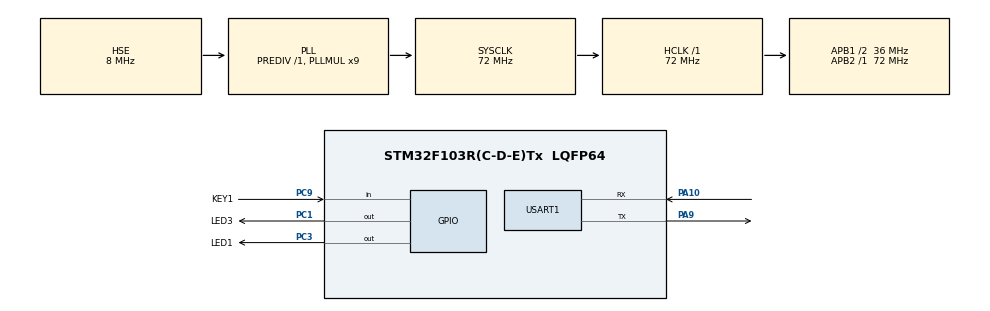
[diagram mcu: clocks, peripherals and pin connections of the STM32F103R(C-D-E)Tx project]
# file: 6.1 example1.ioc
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Mcu.Family=STM32F1
Mcu.Name=STM32F103R(C-D-E)Tx
Mcu.Package=LQFP64
NVIC.PriorityGroup=NVIC_PRIORITYGROUP_4
NVIC.TIM6_IRQn=true\:15\:0\:false\:false\:true\:false\:true\:true
NVIC.TimeBase=TIM6_IRQn
NVIC.TimeBaseIP=TIM6
PA10.Mode=Asynchronous
PA10.Signal=USART1_RX
PA13.Mode=Serial_Wire
PA13.Signal=SYS_JTMS-SWDIO
PA14.Mode=Serial_Wire
PA14.Signal=SYS_JTCK-SWCLK
PA9.Mode=Asynchronous
PA9.Signal=USART1_TX
PC1.GPIO_Label=LED3
PC1.Signal=GPIO_Output
PC3.GPIO_Label=LED1
PC3.Signal=GPIO_Output
PC9.GPIO_Label=KEY1
PC9.GPIO_PuPd=GPIO_PULLUP
PC9.Signal=GPIO_Input
PD0-OSC_IN.Mode=HSE-External-Oscillator
PD0-OSC_IN.Signal=RCC_OSC_IN
PD1-OSC_OUT.Mode=HSE-External-Oscillator
PD1-OSC_OUT.Signal=RCC_OSC_OUT
ProjectManager.HeapSize=0x200
ProjectManager.StackSize=0x400
ProjectManager.TargetToolchain=STM32CubeIDE
RCC.AHBFreq_Value=72000000
RCC.APB1CLKDivider=RCC_HCLK_DIV2
RCC.APB1Freq_Value=36000000
RCC.APB1TimFreq_Value=72000000
RCC.APB2Freq_Value=72000000
RCC.APB2TimFreq_Value=72000000
RCC.HCLKFreq_Value=72000000
RCC.PLLMUL=RCC_PLL_MUL9
RCC.PLLSourceVirtual=RCC_PLLSOURCE_HSE
RCC.SYSCLKFreq_VALUE=72000000
RCC.SYSCLKSource=RCC_SYSCLKSOURCE_PLLCLK
RCC.USBFreq_Value=72000000
USART1.VirtualMode=VM_ASYNC
VP_SYS_VS_tim6.Mode=TIM6
board=custom

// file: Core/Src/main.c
/* USER CODE BEGIN Header */
/**
  ******************************************************************************
  * @file           : main.c
  * @brief          : Main program body
  ******************************************************************************
  * @attention
  *
  * Copyright (c) 2026 STMicroelectronics.
  * All rights reserved.
  *
  * This software is licensed under terms that can be found in the LICENSE file
  * in the root directory of this software component.
  * If no LICENSE file comes with this software, it is provided AS-IS.
  *
  ******************************************************************************
  */
/* USER CODE END Header */
#include "main.h"

/* USER CODE BEGIN Includes */
#include "FreeRTOS.h"
#include "task.h"
#include <string.h>
#include "semphr.h"
/* USER CODE END Includes */

UART_HandleTypeDef huart1;

/* USER CODE BEGIN PV */
SemaphoreHandle_t xFireSemphr;
/* USER CODE END PV */

void SystemClock_Config(void);
static void MX_GPIO_Init(void);
static void MX_USART1_UART_Init(void);
/* USER CODE BEGIN PFP */
void print(const char * str);
/* USER CODE END PFP */

/* USER CODE BEGIN 0 */
void print(const char * str)
{
	vTaskSuspendAll();	//暂停所有调度器
	HAL_UART_Transmit(&huart1, (const uint8_t *)str, strlen(str), HAL_MAX_DELAY);
	xTaskResumeAll();	//恢复所有调度器
}

// 按钮任务
void vButtonTask(void *pvParameters)
{
	GPIO_PinState current, previous = GPIO_PIN_SET;		//一个是记录当前值，一个是记录先前值

	for(;;)
	{
		current = HAL_GPIO_ReadPin(KEY1_GPIO_Port, KEY1_Pin);

		if(current != previous && current == GPIO_PIN_SET)
		{
			xSemaphoreGive(xFireSemphr);
		}

		previous = current;

		vTaskDelay(pdMS_TO_TICKS(10));
	}
}

//火箭任务
void vRocketTask(void *pvParameters)
{
	BaseType_t xReturn;

	print("火箭等待发射\n");
	xReturn = xSemaphoreTake(xFireSemphr,pdMS_TO_TICKS(5000));
	if(xReturn == pdPASS)
	{
		print("火箭发射成功\n");
	}
	else
	{
		print("火箭发射失败");
	}
	vTaskDelete(NULL);
}
/* USER CODE END 0 */

int main(void)
{

  /* MCU Configuration--------------------------------------------------------*/

  /* Reset of all peripherals, Initializes the Flash interface and the Systick. */
  HAL_Init();

  /* Configure the system clock */
  SystemClock_Config();

  /* Initialize all configured peripherals */
  MX_GPIO_Init();
  MX_USART1_UART_Init();
  /* USER CODE BEGIN 2 */

   xFireSemphr = xSemaphoreCreateBinary();
   xTaskCreate(vButtonTask, "Btn", 128, NULL, 2, NULL);
   xTaskCreate(vRocketTask, "Rkt", 128, NULL, 1, NULL);

  vTaskStartScheduler();
  /* USER CODE END 2 */

  /* Infinite loop */
  while (1)
  {

  }
}

void SystemClock_Config(void)
{
  RCC_OscInitTypeDef RCC_OscInitStruct = {0};
  RCC_ClkInitTypeDef RCC_ClkInitStruct = {0};

  /** Initializes the RCC Oscillators according to the specified parameters
  * in the RCC_OscInitTypeDef structure.
  */
  RCC_OscInitStruct.OscillatorType = RCC_OSCILLATORTYPE_HSE;
  RCC_OscInitStruct.HSEState = RCC_HSE_ON;
  RCC_OscInitStruct.HSEPredivValue = RCC_HSE_PREDIV_DIV1;
  RCC_OscInitStruct.HSIState = RCC_HSI_ON;
  RCC_OscInitStruct.PLL.PLLState = RCC_PLL_ON;
  RCC_OscInitStruct.PLL.PLLSource = RCC_PLLSOURCE_HSE;
  RCC_OscInitStruct.PLL.PLLMUL = RCC_PLL_MUL9;
  if (HAL_RCC_OscConfig(&RCC_OscInitStruct) != HAL_OK)
  {
    Error_Handler();
  }

  /** Initializes the CPU, AHB and APB buses clocks
  */
  RCC_ClkInitStruct.ClockType = RCC_CLOCKTYPE_HCLK|RCC_CLOCKTYPE_SYSCLK
                              |RCC_CLOCKTYPE_PCLK1|RCC_CLOCKTYPE_PCLK2;
  RCC_ClkInitStruct.SYSCLKSource = RCC_SYSCLKSOURCE_PLLCLK;
  RCC_ClkInitStruct.AHBCLKDivider = RCC_SYSCLK_DIV1;
  RCC_ClkInitStruct.APB1CLKDivider = RCC_HCLK_DIV2;
  RCC_ClkInitStruct.APB2CLKDivider = RCC_HCLK_DIV1;

  if (HAL_RCC_ClockConfig(&RCC_ClkInitStruct, FLASH_LATENCY_2) != HAL_OK)
  {
    Error_Handler();
  }
}

static void MX_USART1_UART_Init(void)
{

  huart1.Instance = USART1;
  huart1.Init.BaudRate = 115200;
  huart1.Init.WordLength = UART_WORDLENGTH_8B;
  huart1.Init.StopBits = UART_STOPBITS_1;
  huart1.Init.Parity = UART_PARITY_NONE;
  huart1.Init.Mode = UART_MODE_TX_RX;
  huart1.Init.HwFlowCtl = UART_HWCONTROL_NONE;
  huart1.Init.OverSampling = UART_OVERSAMPLING_16;
  if (HAL_UART_Init(&huart1) != HAL_OK)
  {
    Error_Handler();
  }

}

static void MX_GPIO_Init(void)
{
  GPIO_InitTypeDef GPIO_InitStruct = {0};

  /* GPIO Ports Clock Enable */
  __HAL_RCC_GPIOD_CLK_ENABLE();
  __HAL_RCC_GPIOC_CLK_ENABLE();
  __HAL_RCC_GPIOA_CLK_ENABLE();

  /*Configure GPIO pin Output Level */
  HAL_GPIO_WritePin(GPIOC, LED3_Pin|LED1_Pin, GPIO_PIN_RESET);

  /*Configure GPIO pins : LED3_Pin LED1_Pin */
  GPIO_InitStruct.Pin = LED3_Pin|LED1_Pin;
  GPIO_InitStruct.Mode = GPIO_MODE_OUTPUT_PP;
  GPIO_InitStruct.Pull = GPIO_NOPULL;
  GPIO_InitStruct.Speed = GPIO_SPEED_FREQ_LOW;
  HAL_GPIO_Init(GPIOC, &GPIO_InitStruct);

  /*Configure GPIO pin : KEY1_Pin */
  GPIO_InitStruct.Pin = KEY1_Pin;
  GPIO_InitStruct.Mode = GPIO_MODE_INPUT;
  GPIO_InitStruct.Pull = GPIO_PULLUP;
  HAL_GPIO_Init(KEY1_GPIO_Port, &GPIO_InitStruct);

}

void HAL_TIM_PeriodElapsedCallback(TIM_HandleTypeDef *htim)
{
  if (htim->Instance == TIM6)
  {
    HAL_IncTick();
  }
}

void Error_Handler(void)
{
  __disable_irq();
  while (1)
  {
  }
}
